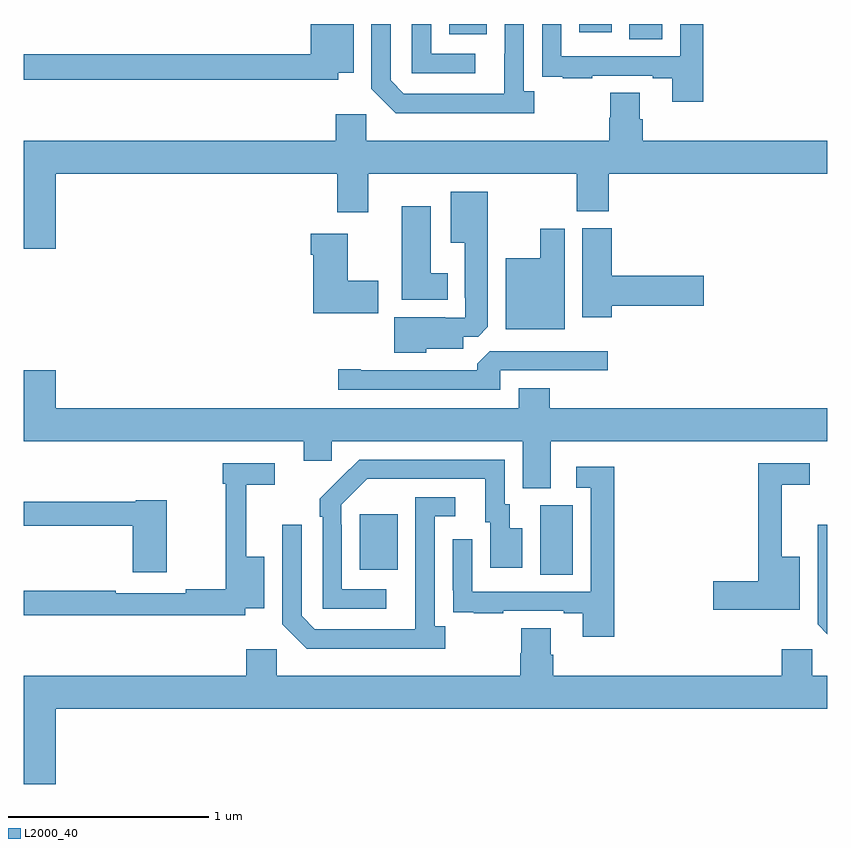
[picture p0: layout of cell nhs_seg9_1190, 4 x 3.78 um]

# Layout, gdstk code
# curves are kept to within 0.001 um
import gdstk
lib = gdstk.Library(unit=1e-6, precision=1e-09)
def R(c, l, rs):  # rectangles x0, y0, x1, y1
    for r in rs: c.add(gdstk.rectangle(r[:2], r[2:], *l))
def P(c, l, *ps):  # polygons
    for p in ps: c.add(gdstk.Polygon(p, *l))
L2000_40 = (2000, 40)

nhs_seg9_1190 = lib.new_cell('nhs_seg9_1190')
R(nhs_seg9_1190, L2000_40, [(179.57,1191.76,179.734,1192.104), (178.673,1191.785,178.861,1192.06), (180.014,1194.424,180.178,1194.5), (179.117,1194.449,179.305,1194.5), (179.765,1194.459,179.926,1194.5)])
P(nhs_seg9_1190, L2000_40, [(178.566,1194.257),(178.642,1194.257),(178.642,1194.5),(178.43,1194.5),(178.43,1194.35),(177,1194.35),(177,1194.222),(178.566,1194.222)],
  [(179.248,1194.351),(179.028,1194.351),(179.028,1194.5),(178.932,1194.5),(178.932,1194.255),(179.248,1194.255)],
  [(180.383,1194.5),(180.267,1194.5),(180.267,1194.339),(179.676,1194.339),(179.676,1194.5),(179.58,1194.5),(179.58,1194.346),(179.581,1194.346),(179.581,1194.237),(179.683,1194.237),(179.683,1194.231),(179.831,1194.231),(179.831,1194.243),(180.131,1194.243),(180.131,1194.231),(180.227,1194.231),(180.227,1194.114),(180.383,1194.114)],
  [(179.542,1194.166),(179.49,1194.166),(179.49,1194.5),(179.394,1194.5),(179.393,1194.153),(178.893,1194.153),(178.827,1194.219),(178.827,1194.5),(178.731,1194.5),(178.731,1194.177),(178.852,1194.056),(179.542,1194.056)],
  [(177.16,1193.756),(178.562,1193.756),(178.562,1193.562),(178.714,1193.562),(178.714,1193.756),(179.752,1193.756),(179.752,1193.569),(179.912,1193.569),(179.912,1193.756),(181,1193.756),(181,1193.92),(180.08,1193.92),(180.08,1194.026),(180.067,1194.026),(180.067,1194.158),(179.92,1194.158),(179.92,1194.033),(179.915,1194.033),(179.915,1193.92),(178.704,1193.92),(178.704,1194.052),(178.553,1194.052),(178.553,1193.92),(177,1193.92),(177,1193.382),(177.16,1193.382)],
  [(179.004,1192.883),(179.188,1192.883),(179.188,1192.944),(179.262,1192.944),(179.311,1192.993),(179.311,1193.665),(179.126,1193.665),(179.126,1193.411),(179.195,1193.411),(179.195,1193.137),(179.199,1193.137),(179.199,1193.037),(179.099,1193.037),(179.099,1193.041),(178.844,1193.041),(178.844,1192.865),(179.004,1192.865)],
  [(179.11,1193.26),(179.026,1193.26),(179.026,1193.593),(178.883,1193.593),(178.883,1193.129),(179.11,1193.129)],
  [(179.927,1193.099),(180.385,1193.099),(180.385,1193.246),(179.927,1193.246),(179.927,1193.484),(179.78,1193.484),(179.78,1193.04),(179.927,1193.04)],
  [(179.692,1193.482),(179.57,1193.482),(179.57,1193.335),(179.399,1193.335),(179.399,1192.982),(179.692,1192.982)],
  [(178.765,1193.223),(178.612,1193.223),(178.612,1193.455),(178.43,1193.455),(178.43,1193.351),(178.442,1193.351),(178.442,1193.06),(178.765,1193.06)],
  [(179.373,1192.776),(179.908,1192.776),(179.908,1192.872),(179.319,1192.872),(179.258,1192.81),(179.258,1192.776),(178.678,1192.776),(178.678,1192.781),(178.566,1192.781),(178.566,1192.68),(179.373,1192.68)],
  [(179.623,1192.424),(181,1192.424),(181,1192.588),(179.618,1192.588),(179.618,1192.687),(179.465,1192.687),(179.465,1192.588),(177.16,1192.588),(177.16,1192.777),(177,1192.777),(177,1192.424),(178.394,1192.424),(178.394,1192.326),(178.533,1192.326),(178.533,1192.424),(179.483,1192.424),(179.483,1192.189),(179.623,1192.189)],
  [(178.804,1191.687),(178.584,1191.687),(178.584,1192.007),(178.581,1192.007),(178.581,1192.107),(178.71,1192.236),(179.297,1192.236),(179.297,1192.02),(179.321,1192.02),(179.321,1191.795),(179.482,1191.795),(179.482,1191.991),(179.419,1191.991),(179.419,1192.11),(179.394,1192.11),(179.394,1192.332),(178.67,1192.332),(178.473,1192.137),(178.473,1192.049),(178.488,1192.049),(178.488,1191.591),(178.804,1191.591)],
  [(178.104,1191.593),(178.198,1191.593),(178.198,1191.85),(178.109,1191.85),(178.109,1192.206),(178.249,1192.206),(178.249,1192.314),(177.991,1192.314),(177.991,1192.211),(178.006,1192.211),(178.006,1191.686),(177.808,1191.686),(177.808,1191.666),(177.458,1191.666),(177.458,1191.679),(177,1191.679),(177,1191.558),(178.104,1191.558)],
  [(180.862,1191.85),(180.773,1191.85),(180.773,1192.206),(180.913,1192.206),(180.913,1192.314),(180.655,1192.314),(180.655,1191.728),(180.432,1191.728),(180.432,1191.586),(180.862,1191.586)],
  [(179.939,1192.297),(179.751,1192.297),(179.751,1192.191),(179.823,1192.191),(179.823,1191.675),(179.232,1191.675),(179.232,1191.937),(179.136,1191.937),(179.136,1191.682),(179.137,1191.682),(179.137,1191.573),(179.239,1191.573),(179.239,1191.567),(179.387,1191.567),(179.387,1191.579),(179.687,1191.579),(179.687,1191.567),(179.783,1191.567),(179.783,1191.45),(179.939,1191.45)],
  [(179.098,1191.502),(179.046,1191.502),(179.046,1192.05),(179.149,1192.05),(179.149,1192.146),(178.95,1192.146),(178.949,1191.489),(178.449,1191.489),(178.383,1191.555),(178.383,1192.009),(178.287,1192.009),(178.287,1191.513),(178.408,1191.392),(179.098,1191.392)],
  [(177.712,1192.131),(177.558,1192.131),(177.558,1192.123),(177,1192.123),(177,1192.002),(177.542,1192.002),(177.542,1191.771),(177.712,1191.771)],
  [(181,1192.009),(180.951,1192.009),(180.951,1191.513),(181,1191.464)],
  [(177.16,1191.092),(181,1191.092),(181,1191.256),(180.924,1191.256),(180.924,1191.388),(180.773,1191.388),(180.773,1191.256),(179.636,1191.256),(179.636,1191.362),(179.623,1191.362),(179.623,1191.494),(179.476,1191.494),(179.476,1191.369),(179.471,1191.369),(179.471,1191.256),(178.26,1191.256),(178.26,1191.388),(178.109,1191.388),(178.109,1191.256),(177,1191.256),(177,1190.718),(177.16,1190.718)])

lib.write_gds('nhs_seg9_1190.gds')
